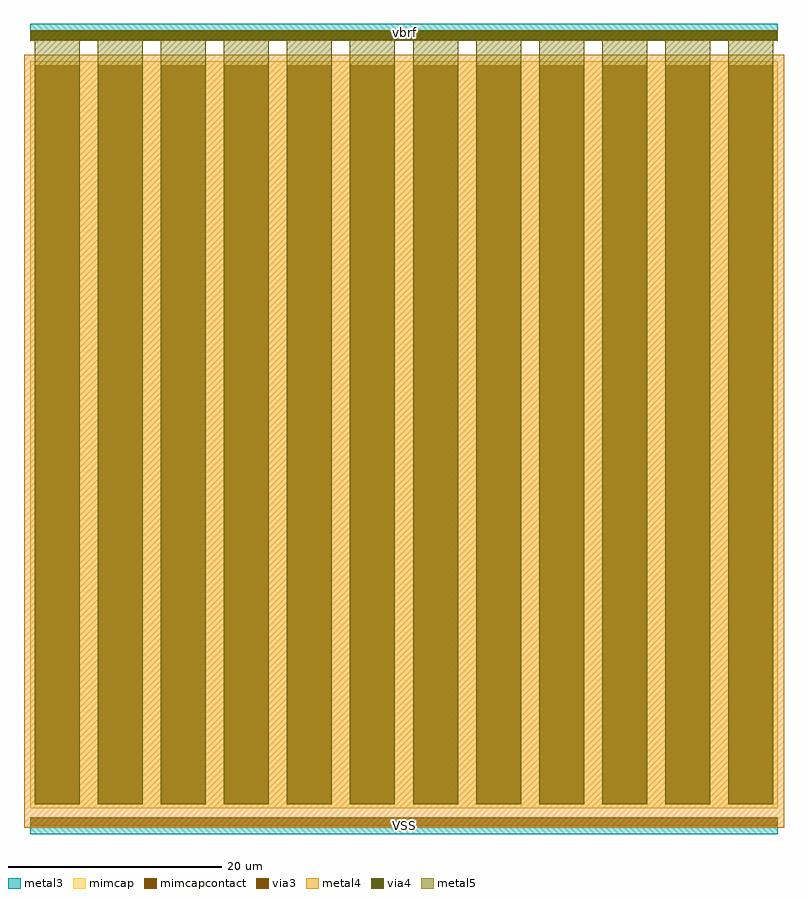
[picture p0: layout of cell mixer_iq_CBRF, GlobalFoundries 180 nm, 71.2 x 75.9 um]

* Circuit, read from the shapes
.subckt mixer_iq_CBRF vbrf VSS
XC1 vbrf VSS cap_mim_2f0fF c_width=70u c_length=70u
.ends

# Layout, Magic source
magic
tech gf180mcuD
magscale 1 10
<< metal3 >>
rect 0 -340 14000 -160
rect 0 14380 14000 14580
rect 0 14380 14000 14700
rect 0 14380 14000 14700
rect 0 -480 14000 -160
rect 0 -480 14000 -160
<< metal4 >>
rect -120 -360 14120 14120
rect 0 -340 14000 -160
rect 0 14380 14000 14580
rect 0 14380 14000 14580
<< mimcap >>
rect 0 0 14000 14000
<< metal5 >>
rect 78 78 922 14480
rect 1260 78 2104 14480
rect 2442 78 3286 14480
rect 3623 78 4467 14480
rect 4805 78 5649 14480
rect 5987 78 6831 14480
rect 7169 78 8013 14480
rect 8351 78 9195 14480
rect 9532 78 10376 14480
rect 10714 78 11558 14480
rect 11896 78 12740 14480
rect 13078 78 13922 14480
rect 0 14380 14000 14580
rect 0 14380 14000 14580
<< via3 >>
rect 10 -330 13990 -170
rect 10 14390 13990 14570
<< via4 >>
rect 10 14390 13990 14570
<< mimcapcontact >>
rect 78 78 922 13922
rect 1260 78 2104 13922
rect 2442 78 3286 13922
rect 3623 78 4467 13922
rect 4805 78 5649 13922
rect 5987 78 6831 13922
rect 7169 78 8013 13922
rect 8351 78 9195 13922
rect 9532 78 10376 13922
rect 10714 78 11558 13922
rect 11896 78 12740 13922
rect 13078 78 13922 13922
<< labels >>
flabel metal3 s 0 14380 14000 14700 0 FreeSans 80 0 0 0 vbrf
port 1 nsew signal bidirectional
flabel metal3 s 0 -480 14000 -160 0 FreeSans 80 0 0 0 VSS
port 2 nsew signal bidirectional
<< end >>
